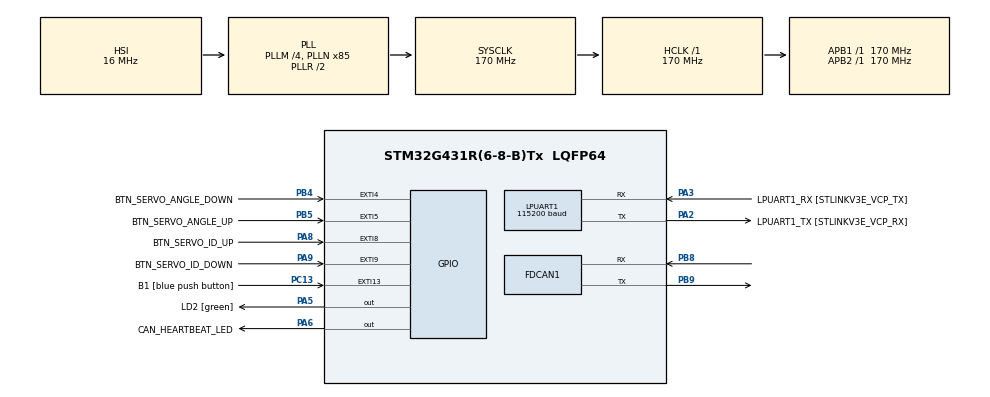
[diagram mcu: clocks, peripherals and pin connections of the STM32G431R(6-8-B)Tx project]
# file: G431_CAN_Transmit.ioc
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FDCAN1.AutoRetransmission=ENABLE
FDCAN1.CalculateBaudRateNominal=125000
FDCAN1.CalculateTimeBitNominal=8000
FDCAN1.CalculateTimeQuantumNominal=100.0
FDCAN1.DataPrescaler=17
FDCAN1.DataSyncJumpWidth=4
FDCAN1.DataTimeSeg1=14
FDCAN1.DataTimeSeg2=5
FDCAN1.Mode=FDCAN_MODE_NORMAL
FDCAN1.NominalPrescaler=17
FDCAN1.NominalSyncJumpWidth=16
FDCAN1.NominalTimeSeg1=63
FDCAN1.NominalTimeSeg2=16
FDCAN1.StdFiltersNbr=1
FDCAN1.TransmitPause=ENABLE
LPUART1.BaudRate=115200
LPUART1.WordLength=UART_WORDLENGTH_8B
Mcu.Family=STM32G4
Mcu.Name=STM32G431R(6-8-B)Tx
Mcu.Package=LQFP64
NVIC.EXTI15_10_IRQn=true\:0\:0\:false\:false\:true\:true\:true\:true
NVIC.EXTI4_IRQn=true\:0\:0\:false\:false\:true\:true\:true\:true
NVIC.EXTI9_5_IRQn=true\:0\:0\:false\:false\:true\:true\:true\:true
NVIC.FDCAN1_IT0_IRQn=true\:0\:0\:false\:false\:true\:true\:true\:true
NVIC.PriorityGroup=NVIC_PRIORITYGROUP_4
NVIC.TIM6_DAC_IRQn=true\:0\:0\:false\:false\:true\:true\:true\:true
PA13.GPIO_Label=T_SWDIO
PA13.Mode=Serial_Wire
PA13.Signal=SYS_JTMS-SWDIO
PA14.GPIO_Label=T_SWCLK
PA14.Mode=Serial_Wire
PA14.Signal=SYS_JTCK-SWCLK
PA2.GPIO_Label=LPUART1_TX [STLINKV3E_VCP_RX]
PA2.Mode=Asynchronous
PA2.Signal=LPUART1_TX
PA3.GPIO_Label=LPUART1_RX [STLINKV3E_VCP_TX]
PA3.Mode=Asynchronous
PA3.Signal=LPUART1_RX
PA5.GPIO_Label=LD2 [green]
PA5.Signal=GPIO_Output
PA6.GPIO_Label=CAN_HEARTBEAT_LED
PA6.Signal=GPIO_Output
PA8.GPIO_Label=BTN_SERVO_ID_UP
PA8.GPIO_ModeDefaultEXTI=GPIO_MODE_IT_FALLING
PA8.GPIO_PuPd=GPIO_PULLUP
PA8.Signal=GPXTI8
PA9.GPIO_Label=BTN_SERVO_ID_DOWN
PA9.GPIO_ModeDefaultEXTI=GPIO_MODE_IT_FALLING
PA9.GPIO_PuPd=GPIO_PULLUP
PA9.Signal=GPXTI9
PB3.GPIO_Label=T_SWO
PB3.Signal=SYS_JTDO-SWO
PB4.GPIO_Label=BTN_SERVO_ANGLE_DOWN
PB4.GPIO_ModeDefaultEXTI=GPIO_MODE_IT_FALLING
PB4.GPIO_PuPd=GPIO_PULLUP
PB4.Signal=GPXTI4
PB5.GPIO_Label=BTN_SERVO_ANGLE_UP
PB5.GPIO_ModeDefaultEXTI=GPIO_MODE_IT_FALLING
PB5.GPIO_PuPd=GPIO_PULLUP
PB5.Signal=GPXTI5
PB8-BOOT0.Mode=FDCAN_Activate
PB8-BOOT0.Signal=FDCAN1_RX
PB9.Mode=FDCAN_Activate
PB9.Signal=FDCAN1_TX
PC13.GPIO_Label=B1 [blue push button]
PC13.Signal=GPXTI13
PC14-OSC32_IN.Mode=LSE-External-Oscillator
PC14-OSC32_IN.Signal=RCC_OSC32_IN
PC15-OSC32_OUT.Mode=LSE-External-Oscillator
PC15-OSC32_OUT.Signal=RCC_OSC32_OUT
PF0-OSC_IN.Mode=HSE-External-Oscillator
PF0-OSC_IN.Signal=RCC_OSC_IN
PF1-OSC_OUT.Mode=HSE-External-Oscillator
PF1-OSC_OUT.Signal=RCC_OSC_OUT
ProjectManager.HeapSize=0x200
ProjectManager.StackSize=0x400
ProjectManager.TargetToolchain=STM32CubeIDE
RCC.ADC12Freq_Value=170000000
RCC.AHBFreq_Value=170000000
RCC.APB1Freq_Value=170000000
RCC.APB1TimFreq_Value=170000000
RCC.APB2Freq_Value=170000000
RCC.APB2TimFreq_Value=170000000
RCC.CortexFreq_Value=170000000
RCC.EXTERNAL_CLOCK_VALUE=12288000
RCC.HCLKFreq_Value=170000000
RCC.HSE_VALUE=24000000
RCC.HSI48_VALUE=48000000
RCC.HSI_VALUE=16000000
RCC.PLLM=RCC_PLLM_DIV4
RCC.PLLN=85
RCC.RTCClockSelection=RCC_RTCCLKSOURCE_LSE
RCC.SYSCLKFreq_VALUE=170000000
RCC.SYSCLKSource=RCC_SYSCLKSOURCE_PLLCLK
RCC.USBFreq_Value=170000000
RCC.VCOOutputFreq_Value=340000000
TIM6.PeriodNoDither=10000-1
TIM6.Prescaler=170-1
VP_SYS_VS_DBSignals.Mode=DisableDeadBatterySignals
VP_TIM6_VS_ClockSourceINT.Mode=Enable_Timer
board=NUCLEO-G431RB

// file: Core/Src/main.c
/* USER CODE BEGIN Header */
/**
  ******************************************************************************
  * @file           : main.c
  * @brief          : Main program body
  ******************************************************************************
  * @attention
  *
  * Copyright (c) 2023 STMicroelectronics.
  * All rights reserved.
  *
  * This software is licensed under terms that can be found in the LICENSE file
  * in the root directory of this software component.
  * If no LICENSE file comes with this software, it is provided AS-IS.
  *
  ******************************************************************************
  */
/* USER CODE END Header */
#include "main.h"

/* USER CODE BEGIN PD */
//#define EXAMPLE_1
//#define EXAMPLE_2
#define HEARTBEAT_EXAMPLE
/* USER CODE END PD */

FDCAN_HandleTypeDef hfdcan1;

UART_HandleTypeDef hlpuart1;

TIM_HandleTypeDef htim6;

/* USER CODE BEGIN PV */
FDCAN_TxHeaderTypeDef txHeader;
FDCAN_RxHeaderTypeDef rxHeader;
uint8_t txData[8];
uint8_t rxData[8];

uint8_t expectedHeartbeatData = 0;

uint8_t idx = 0;
const uint8_t anglesByte0[4] = {0x0, 0x0, 0x0, 0x1};
const uint8_t anglesByte1[4] = {0x0, 0x5A, 0xB4, 0x0E};
/* USER CODE END PV */

void SystemClock_Config(void);
static void MX_GPIO_Init(void);
static void MX_LPUART1_UART_Init(void);
static void MX_FDCAN1_Init(void);
static void MX_TIM6_Init(void);

/* USER CODE BEGIN 0 */
void HAL_GPIO_EXTI_Callback(uint16_t GPIO_Pin)
{
	// Disable button interrupts
	HAL_NVIC_DisableIRQ(EXTI4_IRQn);
	HAL_NVIC_DisableIRQ(EXTI9_5_IRQn);
	HAL_NVIC_DisableIRQ(EXTI15_10_IRQn);

	// Start debounce timer
	HAL_TIM_Base_Start_IT(&htim6);

	switch(GPIO_Pin)
	{
		case BTN_SERVO_ANGLE_DOWN_Pin:
			idx = (idx == 0) ? 3 : idx - 1;
			break;
		case BTN_SERVO_ANGLE_UP_Pin:
			idx++;
			idx %= 4;
			break;
		case BTN_SERVO_ID_DOWN_Pin:
			txHeader.Identifier = (txHeader.Identifier <= 0x10) ? 0x13 : txHeader.Identifier - 1;
			break;
		case BTN_SERVO_ID_UP_Pin:
			txHeader.Identifier = (txHeader.Identifier >= 0x13) ? 0x10 : txHeader.Identifier + 1;
			break;
	}

	txData[0] = anglesByte0[idx];
	txData[1] = anglesByte1[idx];

	txHeader.TxFrameType = FDCAN_DATA_FRAME;
	txHeader.DataLength = FDCAN_DLC_BYTES_2;

	HAL_FDCAN_AddMessageToTxFifoQ(&hfdcan1, &txHeader, txData);

	HAL_GPIO_TogglePin(LD2_GPIO_Port, LD2_Pin);
}

void HAL_TIM_PeriodElapsedCallback(TIM_HandleTypeDef* htim)
{
	if(htim == &htim6)
	{
		// Re-enable button interrupts after debounce period
		HAL_NVIC_EnableIRQ(EXTI4_IRQn);
		HAL_NVIC_EnableIRQ(EXTI9_5_IRQn);
		HAL_NVIC_EnableIRQ(EXTI15_10_IRQn);

		HAL_TIM_Base_Stop_IT(&htim6);
	}
}
void HAL_FDCAN_RxFifo0Callback(FDCAN_HandleTypeDef *hfdcan, uint32_t RxFifo0ITs)
{
	// Check for new messages
	if((RxFifo0ITs & FDCAN_IT_RX_FIFO0_NEW_MESSAGE) != RESET)
	{
		// Retrieve message
		if(HAL_FDCAN_GetRxMessage(hfdcan, FDCAN_RX_FIFO0, &rxHeader, rxData) != HAL_OK)
		{
			Error_Handler();
		}

		// Check header length
		// Will likely need to be converted to a switch statement as more commands are implemented
		if((rxHeader.DataLength == FDCAN_DLC_BYTES_1) && (rxData[0] == expectedHeartbeatData))
		{
			// Heart beat received if data matches expected value
			HAL_GPIO_TogglePin(CAN_HEARTBEAT_LED_GPIO_Port, CAN_HEARTBEAT_LED_Pin);
		}

		// Re-activate message notifications
		// HAL disables them when a message is received, so they need to be reactivated after every message
		if(HAL_FDCAN_ActivateNotification(hfdcan, FDCAN_IT_RX_FIFO0_NEW_MESSAGE, 0) != HAL_OK)
		{
			Error_Handler();
		}
	}
}
/* USER CODE END 0 */

int main(void)
{

  /* MCU Configuration--------------------------------------------------------*/

  /* Reset of all peripherals, Initializes the Flash interface and the Systick. */
  HAL_Init();

  /* Configure the system clock */
  SystemClock_Config();

  /* Initialize all configured peripherals */
  MX_GPIO_Init();
  MX_LPUART1_UART_Init();
  MX_FDCAN1_Init();
  MX_TIM6_Init();
  /* USER CODE BEGIN 2 */

  if(HAL_FDCAN_Start(&hfdcan1) != HAL_OK)
  {
	  Error_Handler();
  }

  if(HAL_FDCAN_ActivateNotification(&hfdcan1, FDCAN_IT_RX_FIFO0_NEW_MESSAGE, 0) != HAL_OK)
  {
	  Error_Handler();
  }

  txHeader.Identifier = 0x10;
  txHeader.IdType = FDCAN_STANDARD_ID;
  txHeader.TxFrameType = FDCAN_DATA_FRAME;
  txHeader.ErrorStateIndicator = FDCAN_ESI_ACTIVE;
  txHeader.BitRateSwitch = FDCAN_BRS_OFF;
  txHeader.FDFormat = FDCAN_CLASSIC_CAN;
  txHeader.TxEventFifoControl = FDCAN_NO_TX_EVENTS;
  txHeader.MessageMarker = 0;

  /* USER CODE END 2 */

  /* Infinite loop */
  /* USER CODE BEGIN WHILE */
  while (1)
  {
#ifdef EXAMPLE_1
//	  Example 1
	for (uint8_t j = 0; j < 4; j++)
	{
		for(uint8_t i = 0x10; i <= 0x13; i++)
		{
			txHeader.Identifier = i;
			txData[0] = anglesByte0[j];
			txData[1] = anglesByte1[j];

			txHeader.DataLength = FDCAN_DLC_BYTES_2;
			HAL_FDCAN_AddMessageToTxFifoQ(&hfdcan1, &txHeader, txData);

			HAL_GPIO_TogglePin(LD2_GPIO_Port, LD2_Pin);

			HAL_Delay(500);
		}
	}
#endif

#ifdef EXAMPLE_2
//	  Example 2
	for(uint8_t i = 3; i <= 8; i++)
	{
		txData[0] = i;
		txHeader.DataLength = FDCAN_DLC_BYTES_1;
		HAL_FDCAN_AddMessageToTxFifoQ(&hfdcan1, &txHeader, txData);

		HAL_GPIO_TogglePin(LD2_GPIO_Port, LD2_Pin);

		HAL_Delay(10000);
	}
#endif

#ifdef HEARTBEAT_EXAMPLE
	// Store expected response for comparison in RxFifo0Callback
	// Expected value should be the CAN ID of the node you want to check
	expectedHeartbeatData = 0x10;

	txHeader.DataLength = FDCAN_DLC_BYTES_1;
	txHeader.TxFrameType = FDCAN_REMOTE_FRAME;

	HAL_FDCAN_AddMessageToTxFifoQ(&hfdcan1, &txHeader, txData);

	HAL_GPIO_TogglePin(LD2_GPIO_Port, LD2_Pin);

	HAL_Delay(1000);
#endif
    /* USER CODE END WHILE */

  }
}

void SystemClock_Config(void)
{
  RCC_OscInitTypeDef RCC_OscInitStruct = {0};
  RCC_ClkInitTypeDef RCC_ClkInitStruct = {0};

  /** Configure the main internal regulator output voltage
  */
  HAL_PWREx_ControlVoltageScaling(PWR_REGULATOR_VOLTAGE_SCALE1_BOOST);

  /** Initializes the RCC Oscillators according to the specified parameters
  * in the RCC_OscInitTypeDef structure.
  */
  RCC_OscInitStruct.OscillatorType = RCC_OSCILLATORTYPE_HSI;
  RCC_OscInitStruct.HSIState = RCC_HSI_ON;
  RCC_OscInitStruct.HSICalibrationValue = RCC_HSICALIBRATION_DEFAULT;
  RCC_OscInitStruct.PLL.PLLState = RCC_PLL_ON;
  RCC_OscInitStruct.PLL.PLLSource = RCC_PLLSOURCE_HSI;
  RCC_OscInitStruct.PLL.PLLM = RCC_PLLM_DIV4;
  RCC_OscInitStruct.PLL.PLLN = 85;
  RCC_OscInitStruct.PLL.PLLP = RCC_PLLP_DIV2;
  RCC_OscInitStruct.PLL.PLLQ = RCC_PLLQ_DIV2;
  RCC_OscInitStruct.PLL.PLLR = RCC_PLLR_DIV2;
  if (HAL_RCC_OscConfig(&RCC_OscInitStruct) != HAL_OK)
  {
    Error_Handler();
  }

  /** Initializes the CPU, AHB and APB buses clocks
  */
  RCC_ClkInitStruct.ClockType = RCC_CLOCKTYPE_HCLK|RCC_CLOCKTYPE_SYSCLK
                              |RCC_CLOCKTYPE_PCLK1|RCC_CLOCKTYPE_PCLK2;
  RCC_ClkInitStruct.SYSCLKSource = RCC_SYSCLKSOURCE_PLLCLK;
  RCC_ClkInitStruct.AHBCLKDivider = RCC_SYSCLK_DIV1;
  RCC_ClkInitStruct.APB1CLKDivider = RCC_HCLK_DIV1;
  RCC_ClkInitStruct.APB2CLKDivider = RCC_HCLK_DIV1;

  if (HAL_RCC_ClockConfig(&RCC_ClkInitStruct, FLASH_LATENCY_4) != HAL_OK)
  {
    Error_Handler();
  }
}

static void MX_FDCAN1_Init(void)
{

  hfdcan1.Instance = FDCAN1;
  hfdcan1.Init.ClockDivider = FDCAN_CLOCK_DIV1;
  hfdcan1.Init.FrameFormat = FDCAN_FRAME_CLASSIC;
  hfdcan1.Init.Mode = FDCAN_MODE_NORMAL;
  hfdcan1.Init.AutoRetransmission = ENABLE;
  hfdcan1.Init.TransmitPause = ENABLE;
  hfdcan1.Init.ProtocolException = DISABLE;
  hfdcan1.Init.NominalPrescaler = 17;
  hfdcan1.Init.NominalSyncJumpWidth = 16;
  hfdcan1.Init.NominalTimeSeg1 = 63;
  hfdcan1.Init.NominalTimeSeg2 = 16;
  hfdcan1.Init.DataPrescaler = 17;
  hfdcan1.Init.DataSyncJumpWidth = 4;
  hfdcan1.Init.DataTimeSeg1 = 14;
  hfdcan1.Init.DataTimeSeg2 = 5;
  hfdcan1.Init.StdFiltersNbr = 1;
  hfdcan1.Init.ExtFiltersNbr = 0;
  hfdcan1.Init.TxFifoQueueMode = FDCAN_TX_FIFO_OPERATION;
  if (HAL_FDCAN_Init(&hfdcan1) != HAL_OK)
  {
    Error_Handler();
  }

}

static void MX_LPUART1_UART_Init(void)
{

  hlpuart1.Instance = LPUART1;
  hlpuart1.Init.BaudRate = 115200;
  hlpuart1.Init.WordLength = UART_WORDLENGTH_8B;
  hlpuart1.Init.StopBits = UART_STOPBITS_1;
  hlpuart1.Init.Parity = UART_PARITY_NONE;
  hlpuart1.Init.Mode = UART_MODE_TX_RX;
  hlpuart1.Init.HwFlowCtl = UART_HWCONTROL_NONE;
  hlpuart1.Init.OneBitSampling = UART_ONE_BIT_SAMPLE_DISABLE;
  hlpuart1.Init.ClockPrescaler = UART_PRESCALER_DIV1;
  hlpuart1.AdvancedInit.AdvFeatureInit = UART_ADVFEATURE_NO_INIT;
  if (HAL_UART_Init(&hlpuart1) != HAL_OK)
  {
    Error_Handler();
  }
  if (HAL_UARTEx_SetTxFifoThreshold(&hlpuart1, UART_TXFIFO_THRESHOLD_1_8) != HAL_OK)
  {
    Error_Handler();
  }
  if (HAL_UARTEx_SetRxFifoThreshold(&hlpuart1, UART_RXFIFO_THRESHOLD_1_8) != HAL_OK)
  {
    Error_Handler();
  }
  if (HAL_UARTEx_DisableFifoMode(&hlpuart1) != HAL_OK)
  {
    Error_Handler();
  }

}

static void MX_TIM6_Init(void)
{

  TIM_MasterConfigTypeDef sMasterConfig = {0};

  htim6.Instance = TIM6;
  htim6.Init.Prescaler = 170-1;
  htim6.Init.CounterMode = TIM_COUNTERMODE_UP;
  htim6.Init.Period = 9999;
  htim6.Init.AutoReloadPreload = TIM_AUTORELOAD_PRELOAD_DISABLE;
  if (HAL_TIM_Base_Init(&htim6) != HAL_OK)
  {
    Error_Handler();
  }
  sMasterConfig.MasterOutputTrigger = TIM_TRGO_RESET;
  sMasterConfig.MasterSlaveMode = TIM_MASTERSLAVEMODE_DISABLE;
  if (HAL_TIMEx_MasterConfigSynchronization(&htim6, &sMasterConfig) != HAL_OK)
  {
    Error_Handler();
  }

}

static void MX_GPIO_Init(void)
{
  GPIO_InitTypeDef GPIO_InitStruct = {0};

  /* GPIO Ports Clock Enable */
  __HAL_RCC_GPIOC_CLK_ENABLE();
  __HAL_RCC_GPIOF_CLK_ENABLE();
  __HAL_RCC_GPIOA_CLK_ENABLE();
  __HAL_RCC_GPIOB_CLK_ENABLE();

  /*Configure GPIO pin Output Level */
  HAL_GPIO_WritePin(GPIOA, LD2_Pin|CAN_HEARTBEAT_LED_Pin, GPIO_PIN_RESET);

  /*Configure GPIO pin : B1_Pin */
  GPIO_InitStruct.Pin = B1_Pin;
  GPIO_InitStruct.Mode = GPIO_MODE_IT_RISING;
  GPIO_InitStruct.Pull = GPIO_NOPULL;
  HAL_GPIO_Init(B1_GPIO_Port, &GPIO_InitStruct);

  /*Configure GPIO pins : LD2_Pin CAN_HEARTBEAT_LED_Pin */
  GPIO_InitStruct.Pin = LD2_Pin|CAN_HEARTBEAT_LED_Pin;
  GPIO_InitStruct.Mode = GPIO_MODE_OUTPUT_PP;
  GPIO_InitStruct.Pull = GPIO_NOPULL;
  GPIO_InitStruct.Speed = GPIO_SPEED_FREQ_LOW;
  HAL_GPIO_Init(GPIOA, &GPIO_InitStruct);

  /*Configure GPIO pins : BTN_SERVO_ID_UP_Pin BTN_SERVO_ID_DOWN_Pin */
  GPIO_InitStruct.Pin = BTN_SERVO_ID_UP_Pin|BTN_SERVO_ID_DOWN_Pin;
  GPIO_InitStruct.Mode = GPIO_MODE_IT_FALLING;
  GPIO_InitStruct.Pull = GPIO_PULLUP;
  HAL_GPIO_Init(GPIOA, &GPIO_InitStruct);

  /*Configure GPIO pins : BTN_SERVO_ANGLE_DOWN_Pin BTN_SERVO_ANGLE_UP_Pin */
  GPIO_InitStruct.Pin = BTN_SERVO_ANGLE_DOWN_Pin|BTN_SERVO_ANGLE_UP_Pin;
  GPIO_InitStruct.Mode = GPIO_MODE_IT_FALLING;
  GPIO_InitStruct.Pull = GPIO_PULLUP;
  HAL_GPIO_Init(GPIOB, &GPIO_InitStruct);

  /* EXTI interrupt init*/
  HAL_NVIC_SetPriority(EXTI4_IRQn, 0, 0);
  HAL_NVIC_EnableIRQ(EXTI4_IRQn);

  HAL_NVIC_SetPriority(EXTI9_5_IRQn, 0, 0);
  HAL_NVIC_EnableIRQ(EXTI9_5_IRQn);

  HAL_NVIC_SetPriority(EXTI15_10_IRQn, 0, 0);
  HAL_NVIC_EnableIRQ(EXTI15_10_IRQn);

}

void Error_Handler(void)
{
  __disable_irq();
  while (1)
  {
  }
}
